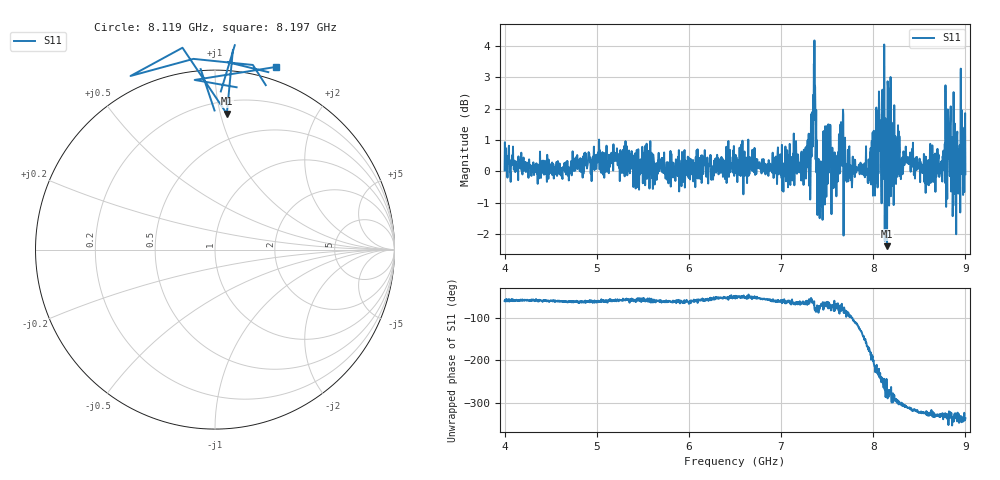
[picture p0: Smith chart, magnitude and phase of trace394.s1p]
! Created with skrf 1.8.0 (http://scikit-rf.org).
# Hz S RI R 50.0
!freq ReS11 ImS11
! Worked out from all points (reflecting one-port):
!   1601 points, 4 GHz to 9 GHz, reference 50 ohm
!   lowest |S11| = -2.4 dB at 8.15 GHz (marker M1), VSWR 7.32, Z = 14.6 + j52.4 ohm
!   phase of S11 starts at -59 deg and turns -278 deg over the sweep
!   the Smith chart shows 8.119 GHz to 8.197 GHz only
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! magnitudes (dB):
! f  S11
! 4 GHz  0.0
! 4.625 GHz  -0.2
! 5.25 GHz  -0.3
! 5.875 GHz  0.0
! 6.5 GHz  0.3
! 7.125 GHz  0.3
! 7.294 GHz  0.5
! 7.356 GHz  3.4
! 7.381 GHz  2.0
! 7.4 GHz  0.0
! 7.428 GHz  -0.4
! 7.519 GHz  0.5
! 7.588 GHz  0.0
! 7.65 GHz  1.6
! 7.703 GHz  -0.3
! 7.75 GHz  0.0
! 7.994 GHz  1.2
! 8.097 GHz  0.4
! 8.15 GHz  -2.4
! 8.178 GHz  2.0
! 8.216 GHz  1.1
! 8.375 GHz  0.3
! 8.581 GHz  -0.4
! 8.741 GHz  0.1
! 8.822 GHz  0.7
! 8.919 GHz  -0.4
! 8.972 GHz  0.3
! 9 GHz  -0.1
